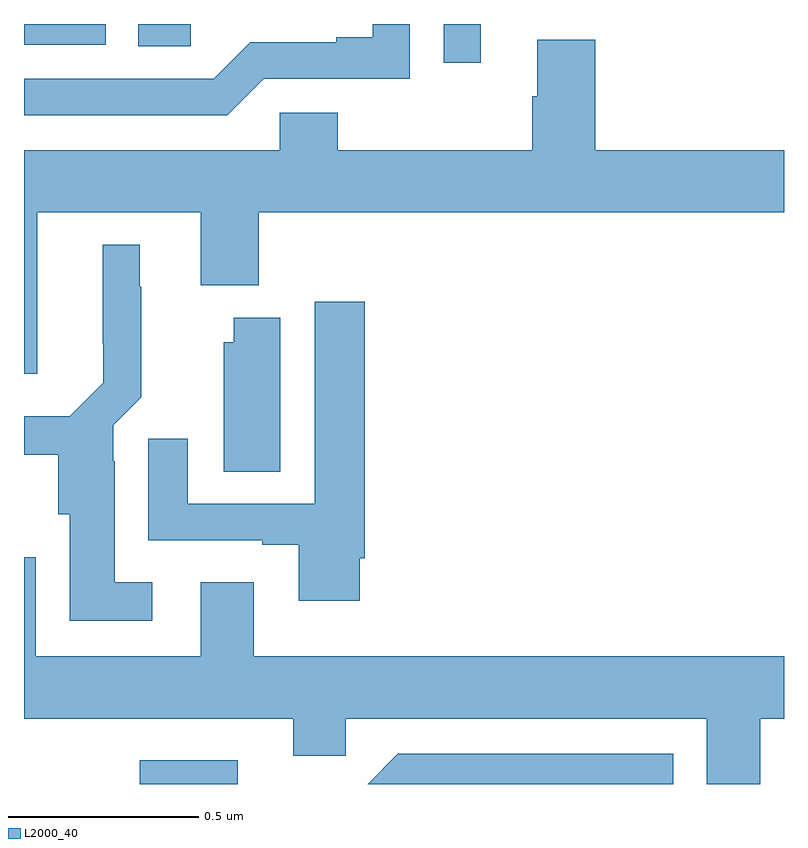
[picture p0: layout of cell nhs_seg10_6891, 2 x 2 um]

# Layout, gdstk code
import gdstk
lib = gdstk.Library(unit=1e-6, precision=1e-09)
def R(c, l, rs):  # rectangles x0, y0, x1, y1
    for r in rs: c.add(gdstk.rectangle(r[:2], r[2:], *l))
def P(c, l, *ps):  # polygons
    for p in ps: c.add(gdstk.Polygon(p, *l))
L2000_40 = (2000, 40)

nhs_seg10_6891 = lib.new_cell('nhs_seg10_6891')
R(nhs_seg10_6891, L2000_40, [(197.305,1277.5,197.563,1277.562), (198.105,1279.398,198.202,1279.5), (197.3,1279.441,197.439,1279.5), (197,1279.445,197.215,1279.5)])
P(nhs_seg10_6891, L2000_40, [(197.631,1279.356),(198.015,1279.356),(198.015,1279.5),(197.918,1279.5),(197.918,1279.465),(197.822,1279.465),(197.822,1279.452),(197.595,1279.452),(197.499,1279.356),(197,1279.356),(197,1279.26),(197.535,1279.26)],
  [(197.035,1279.004),(197.465,1279.004),(197.465,1278.812),(197.618,1278.812),(197.618,1279.004),(199,1279.004),(199,1279.168),(198.503,1279.168),(198.503,1279.459),(198.35,1279.459),(198.35,1279.31),(198.338,1279.31),(198.338,1279.168),(197.825,1279.168),(197.825,1279.266),(197.673,1279.266),(197.673,1279.168),(197,1279.168),(197,1278.579),(197.035,1278.579)],
  [(197.338,1278.031),(197.239,1278.031),(197.239,1278.35),(197.235,1278.35),(197.235,1278.444),(197.309,1278.518),(197.309,1278.809),(197.305,1278.809),(197.305,1278.919),(197.207,1278.919),(197.207,1278.658),(197.208,1278.658),(197.208,1278.556),(197.12,1278.468),(197,1278.468),(197,1278.367),(197.09,1278.367),(197.09,1278.21),(197.12,1278.21),(197.12,1277.93),(197.338,1277.93)],
  [(197.884,1278.094),(197.897,1278.094),(197.897,1278.769),(197.765,1278.769),(197.765,1278.237),(197.431,1278.237),(197.431,1278.409),(197.327,1278.409),(197.327,1278.141),(197.627,1278.141),(197.627,1278.129),(197.723,1278.129),(197.723,1277.982),(197.884,1277.982)],
  [(197.674,1278.727),(197.552,1278.727),(197.552,1278.663),(197.525,1278.663),(197.525,1278.322),(197.674,1278.322)],
  [(198.937,1277.672),(199,1277.672),(199,1277.836),(197.605,1277.836),(197.605,1278.031),(197.465,1278.031),(197.465,1277.836),(197.031,1277.836),(197.031,1278.097),(197,1278.097),(197,1277.672),(197.708,1277.672),(197.708,1277.574),(197.847,1277.574),(197.847,1277.672),(198.797,1277.672),(198.797,1277.5),(198.937,1277.5)],
  [(198.708,1277.58),(197.984,1277.58),(197.904,1277.5),(198.708,1277.5)])

lib.write_gds('nhs_seg10_6891.gds')
